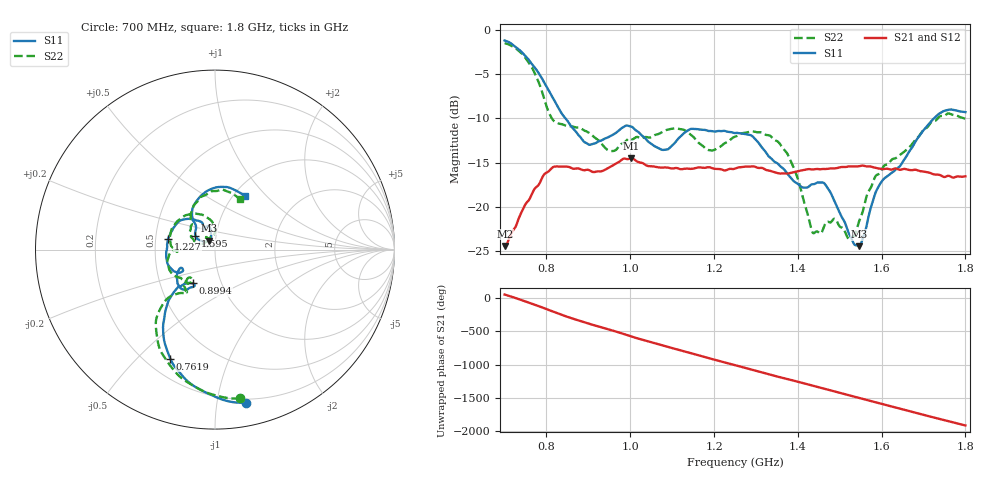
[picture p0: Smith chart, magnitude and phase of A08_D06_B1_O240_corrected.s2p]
! Created with skrf 1.9.0 (http://scikit-rf.org).
# Hz S RI R 50.0
!freq ReS11 ImS11 ReS21 ImS21 ReS12 ImS12 ReS22 ImS22
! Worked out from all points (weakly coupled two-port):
!   1601 points, 700 MHz to 1.8 GHz, reference 50 ohm
!   highest |S21| = -14.52 dB at 1.002 GHz (marker M1); lowest = -24.4 dB at 700.7 MHz (marker M2)
!   lowest |S11| = -24.4 dB at 1.546 GHz (marker M3), VSWR 1.13, Z = 46.5 + j4.6 ohm
!   |S11| at or under -10 dB: 845.2 MHz to 1.725 GHz (879.6 MHz wide, 68.5 % of centre)
!   |S22| runs from -23.6 to -1.5 dB; largest |S21 - S12| = 0.0034
!   S11 on the Smith chart (normalised r, x): 700 MHz: 0.17, -1.21; 761.9 MHz: 0.30, -0.63; 899.4 MHz: 0.73, -0.29; 1.227 GHz: 0.58, +0.08; 1.595 GHz: 0.80, +0.12; 1.8 GHz: 1.12, +0.76
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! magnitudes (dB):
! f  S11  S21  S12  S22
! 700 MHz  -1.2  -24.4  -24.2  -1.5
! 700.7 MHz  -1.2  -24.4  -24.1  -1.5
! 761.9 MHz  -3.7  -18.9  -18.8  -4.0
! 815.5 MHz  -7.7  -15.5  -15.6  -10.2
! 883.6 MHz  -12.3  -15.8  -15.7  -11.2
! 899.4 MHz  -12.9  -15.8  -15.9  -11.6
! 953 MHz  -12.0  -15.5  -15.5  -13.7
! 1.002 GHz  -10.9  -14.5  -14.6  -12.3
! 1.067 GHz  -13.4  -15.5  -15.5  -11.8
! 1.145 GHz  -11.2  -15.7  -15.7  -11.9
! 1.227 GHz  -11.4  -15.9  -15.8  -12.8
! 1.25 GHz  -11.7  -15.7  -15.6  -12.1
! 1.357 GHz  -15.3  -16.2  -16.2  -12.8
! 1.394 GHz  -17.2  -16.0  -16.0  -16.1
! 1.434 GHz  -17.5  -15.8  -15.7  -22.7
! 1.467 GHz  -17.6  -15.7  -15.7  -21.8
! 1.524 GHz  -23.2  -15.4  -15.4  -23.6
! 1.546 GHz  -24.4  -15.4  -15.4  -21.6
! 1.595 GHz  -17.5  -15.7  -15.7  -16.2
! 1.617 GHz  -16.4  -15.7  -15.7  -15.1
! 1.733 GHz  -9.6  -16.4  -16.4  -10.0
! 1.8 GHz  -9.3  -16.6  -16.5  -10.0
